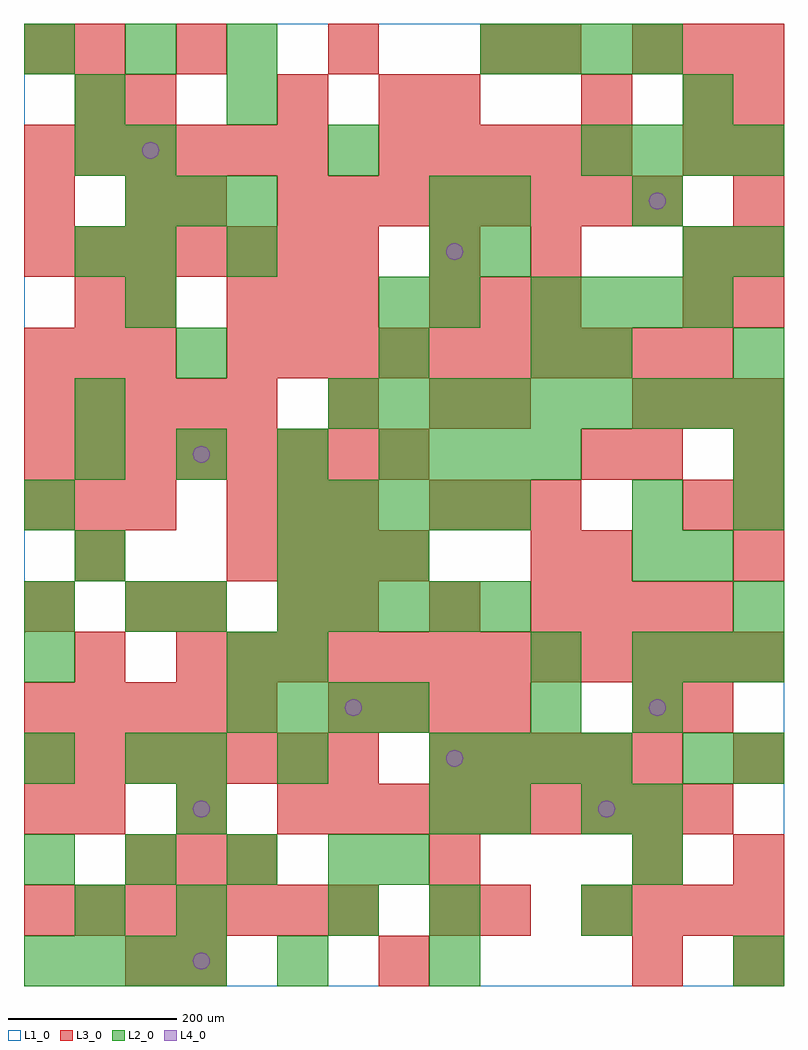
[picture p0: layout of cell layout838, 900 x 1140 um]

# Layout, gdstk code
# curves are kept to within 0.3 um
import gdstk
lib = gdstk.Library(unit=1e-6, precision=1e-09)
def R(c, l, rs):  # rectangles x0, y0, x1, y1
    for r in rs: c.add(gdstk.rectangle(r[:2], r[2:], *l))
def A(c, l, x, y, w, h, nx, ny, dx, dy):  # array of equal rectangles
    R(c, l, [(x+i*dx, y+j*dy, x+i*dx+w, y+j*dy+h) for i in range(nx) for j in range(ny)])
def P(c, l, *ps):  # polygons
    for p in ps: c.add(gdstk.Polygon(p, *l))
L1_0 = (1, 0)
L2_0 = (2, 0)
L3_0 = (3, 0)
L4_0 = (4, 0)

layout838 = lib.new_cell('layout838')
R(layout838, L1_0, [(0,0,900,1140)])
A(layout838, L2_0, 0, 0, 60, 60, 4, 1, 60, 0)
A(layout838, L2_0, 0, 120, 60, 60, 4, 1, 120, 0)
A(layout838, L2_0, 480, 240, 60, 60, 4, 1, 60, 0)
A(layout838, L2_0, 240, 300, 60, 60, 4, 1, 60, 0)
A(layout838, L2_0, 720, 360, 60, 60, 3, 1, 60, 0)
A(layout838, L2_0, 300, 420, 60, 60, 5, 2, 60, 120)
A(layout838, L2_0, 60, 480, 60, 60, 1, 3, 0, 180)
A(layout838, L2_0, 300, 480, 60, 60, 3, 1, 60, 0)
A(layout838, L2_0, 60, 600, 60, 60, 4, 1, 120, 0)
A(layout838, L2_0, 480, 600, 60, 60, 3, 1, 60, 0)
A(layout838, L2_0, 840, 600, 60, 60, 1, 3, 0, 120)
A(layout838, L2_0, 360, 660, 60, 60, 9, 1, 60, 0)
A(layout838, L2_0, 480, 780, 60, 60, 1, 3, 0, 60)
A(layout838, L2_0, 600, 780, 60, 60, 4, 1, 60, 0)
A(layout838, L2_0, 120, 900, 60, 60, 3, 1, 60, 0)
A(layout838, L2_0, 660, 960, 60, 60, 4, 1, 60, 0)
A(layout838, L2_0, 0, 1080, 60, 60, 3, 1, 120, 0)
A(layout838, L2_0, 540, 1080, 60, 60, 4, 1, 60, 0)
R(layout838, L2_0, [(300,0,360,60), (480,0,540,60), (840,0,900,60), (60,60,120,120), (180,60,240,120), (360,60,420,120), (480,60,540,120), (660,60,720,120), (420,120,480,180), (720,120,780,180), (180,180,240,240), (480,180,540,240), (540,180,600,240), (660,180,720,240), (720,180,780,240), (0,240,60,300), (120,240,180,300), (180,240,240,300), (300,240,360,300), (780,240,840,300), (840,240,900,300), (600,300,660,360), (720,300,780,360), (0,360,60,420), (240,360,300,420), (300,360,360,420), (600,360,660,420), (0,420,60,480), (120,420,180,480), (180,420,240,480), (840,420,900,480), (720,480,780,540), (780,480,840,540), (0,540,60,600), (720,540,780,600), (840,540,900,600), (180,720,240,780), (420,720,480,780), (600,720,660,780), (660,720,720,780), (120,780,180,840), (420,780,480,840), (120,840,180,900), (240,840,300,900), (540,840,600,900), (780,840,840,900), (540,900,600,960), (720,900,780,960), (60,960,120,1020), (120,960,180,1020), (360,960,420,1020), (60,1020,120,1080), (240,1020,300,1080), (780,1020,840,1080)])
A(layout838, L3_0, 840, 0, 60, 60, 1, 3, 0, 120)
A(layout838, L3_0, 0, 60, 60, 60, 7, 2, 60, 180)
A(layout838, L3_0, 660, 60, 60, 60, 4, 1, 60, 0)
A(layout838, L3_0, 120, 120, 60, 60, 3, 1, 60, 0)
A(layout838, L3_0, 60, 180, 60, 60, 3, 1, 120, 0)
A(layout838, L3_0, 360, 180, 60, 60, 8, 1, 60, 0)
A(layout838, L3_0, 480, 240, 60, 60, 5, 1, 60, 0)
A(layout838, L3_0, 0, 300, 60, 60, 5, 2, 60, 360)
A(layout838, L3_0, 360, 300, 60, 60, 4, 1, 60, 0)
A(layout838, L3_0, 780, 300, 60, 60, 1, 3, 0, 240)
A(layout838, L3_0, 180, 360, 60, 60, 12, 1, 60, 0)
A(layout838, L3_0, 360, 420, 60, 60, 3, 1, 120, 0)
A(layout838, L3_0, 660, 420, 60, 60, 3, 1, 60, 0)
A(layout838, L3_0, 240, 480, 60, 60, 4, 1, 60, 0)
A(layout838, L3_0, 840, 480, 60, 60, 1, 3, 0, 60)
A(layout838, L3_0, 0, 540, 60, 60, 3, 2, 60, 180)
A(layout838, L3_0, 240, 540, 60, 60, 3, 2, 60, 240)
A(layout838, L3_0, 480, 540, 60, 60, 3, 2, 60, 240)
A(layout838, L3_0, 0, 600, 60, 60, 8, 1, 60, 0)
A(layout838, L3_0, 480, 660, 60, 60, 1, 3, 0, 180)
A(layout838, L3_0, 720, 660, 60, 60, 3, 2, 60, 420)
A(layout838, L3_0, 240, 720, 60, 60, 10, 1, 60, 0)
A(layout838, L3_0, 120, 780, 60, 60, 1, 3, 0, 120)
A(layout838, L3_0, 840, 780, 60, 60, 1, 5, 0, 60)
A(layout838, L3_0, 0, 840, 60, 60, 7, 1, 60, 0)
A(layout838, L3_0, 300, 900, 60, 60, 8, 1, 60, 0)
A(layout838, L3_0, 0, 960, 60, 60, 6, 1, 60, 0)
A(layout838, L3_0, 420, 960, 60, 60, 5, 1, 60, 0)
A(layout838, L3_0, 180, 1080, 60, 60, 3, 1, 180, 0)
R(layout838, L3_0, [(120,0,180,60), (180,0,240,60), (420,0,480,60), (720,0,780,60), (480,60,540,120), (540,60,600,120), (480,120,540,180), (720,120,780,180), (0,180,60,240), (720,300,780,360), (60,360,120,420), (0,420,60,480), (120,420,180,480), (180,420,240,480), (300,420,360,480), (60,480,120,540), (600,480,660,540), (660,480,720,540), (660,600,720,660), (720,600,780,660), (360,660,420,720), (540,660,600,720), (60,780,120,840), (600,840,660,900), (780,840,840,900), (0,900,60,960), (180,900,240,960), (780,960,840,1020), (60,1020,120,1080), (300,1020,360,1080), (420,1020,480,1080), (660,1020,720,1080), (780,1020,840,1080), (0,1080,60,1140), (60,1080,120,1140), (600,1080,660,1140)])
P(layout838, L4_0, [(160,990),(159.239,993.827),(157.071,997.071),(153.827,999.239),(150,1000),(146.173,999.239),(142.929,997.071),(140.761,993.827),(140,990),(140.761,986.173),(142.929,982.929),(146.173,980.761),(150,980),(153.827,980.761),(157.071,982.929),(159.239,986.173)],
  [(220,30),(219.239,33.827),(217.071,37.071),(213.827,39.239),(210,40),(206.173,39.239),(202.929,37.071),(200.761,33.827),(200,30),(200.761,26.173),(202.929,22.929),(206.173,20.761),(210,20),(213.827,20.761),(217.071,22.929),(219.239,26.173)],
  [(220,210),(219.239,213.827),(217.071,217.071),(213.827,219.239),(210,220),(206.173,219.239),(202.929,217.071),(200.761,213.827),(200,210),(200.761,206.173),(202.929,202.929),(206.173,200.761),(210,200),(213.827,200.761),(217.071,202.929),(219.239,206.173)],
  [(220,630),(219.239,633.827),(217.071,637.071),(213.827,639.239),(210,640),(206.173,639.239),(202.929,637.071),(200.761,633.827),(200,630),(200.761,626.173),(202.929,622.929),(206.173,620.761),(210,620),(213.827,620.761),(217.071,622.929),(219.239,626.173)],
  [(400,330),(399.239,333.827),(397.071,337.071),(393.827,339.239),(390,340),(386.173,339.239),(382.929,337.071),(380.761,333.827),(380,330),(380.761,326.173),(382.929,322.929),(386.173,320.761),(390,320),(393.827,320.761),(397.071,322.929),(399.239,326.173)],
  [(520,270),(519.239,273.827),(517.071,277.071),(513.827,279.239),(510,280),(506.173,279.239),(502.929,277.071),(500.761,273.827),(500,270),(500.761,266.173),(502.929,262.929),(506.173,260.761),(510,260),(513.827,260.761),(517.071,262.929),(519.239,266.173)],
  [(520,870),(519.239,873.827),(517.071,877.071),(513.827,879.239),(510,880),(506.173,879.239),(502.929,877.071),(500.761,873.827),(500,870),(500.761,866.173),(502.929,862.929),(506.173,860.761),(510,860),(513.827,860.761),(517.071,862.929),(519.239,866.173)],
  [(700,210),(699.239,213.827),(697.071,217.071),(693.827,219.239),(690,220),(686.173,219.239),(682.929,217.071),(680.761,213.827),(680,210),(680.761,206.173),(682.929,202.929),(686.173,200.761),(690,200),(693.827,200.761),(697.071,202.929),(699.239,206.173)],
  [(760,330),(759.239,333.827),(757.071,337.071),(753.827,339.239),(750,340),(746.173,339.239),(742.929,337.071),(740.761,333.827),(740,330),(740.761,326.173),(742.929,322.929),(746.173,320.761),(750,320),(753.827,320.761),(757.071,322.929),(759.239,326.173)],
  [(760,930),(759.239,933.827),(757.071,937.071),(753.827,939.239),(750,940),(746.173,939.239),(742.929,937.071),(740.761,933.827),(740,930),(740.761,926.173),(742.929,922.929),(746.173,920.761),(750,920),(753.827,920.761),(757.071,922.929),(759.239,926.173)])

lib.write_gds('layout838.gds')
